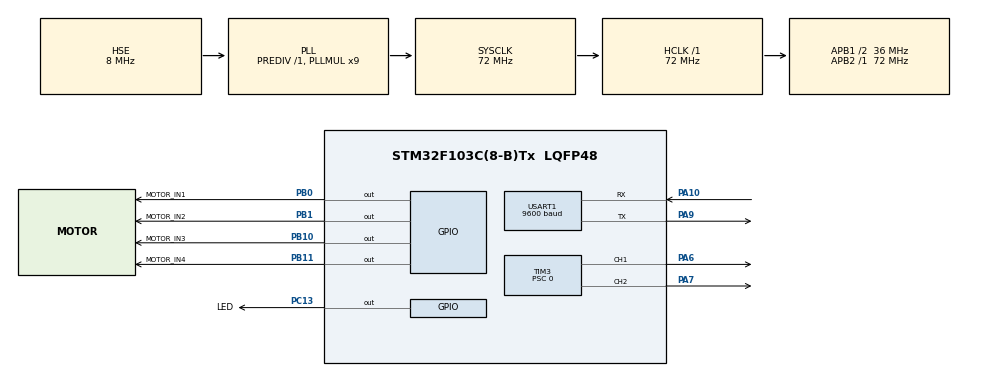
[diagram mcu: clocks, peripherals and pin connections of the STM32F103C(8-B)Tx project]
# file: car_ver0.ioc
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Mcu.Family=STM32F1
Mcu.Name=STM32F103C(8-B)Tx
Mcu.Package=LQFP48
NVIC.PriorityGroup=NVIC_PRIORITYGROUP_4
NVIC.USART1_IRQn=true\:0\:0\:false\:false\:true\:true\:true\:true
PA10.Mode=Asynchronous
PA10.Signal=USART1_RX
PA13.Mode=Serial_Wire
PA13.Signal=SYS_JTMS-SWDIO
PA14.Mode=Serial_Wire
PA14.Signal=SYS_JTCK-SWCLK
PA6.Signal=S_TIM3_CH1
PA7.Signal=S_TIM3_CH2
PA9.Mode=Asynchronous
PA9.Signal=USART1_TX
PB0.GPIO_Label=MOTOR_IN1
PB0.Signal=GPIO_Output
PB1.GPIO_Label=MOTOR_IN2
PB1.Signal=GPIO_Output
PB10.GPIO_Label=MOTOR_IN3
PB10.Signal=GPIO_Output
PB11.GPIO_Label=MOTOR_IN4
PB11.Signal=GPIO_Output
PC13-TAMPER-RTC.GPIO_Label=LED
PC13-TAMPER-RTC.GPIO_PuPd=GPIO_NOPULL
PC13-TAMPER-RTC.PinState=GPIO_PIN_SET
PC13-TAMPER-RTC.Signal=GPIO_Output
PD0-OSC_IN.Mode=HSE-External-Oscillator
PD0-OSC_IN.Signal=RCC_OSC_IN
PD1-OSC_OUT.Mode=HSE-External-Oscillator
PD1-OSC_OUT.Signal=RCC_OSC_OUT
ProjectManager.HeapSize=0x200
ProjectManager.StackSize=0x400
ProjectManager.TargetToolchain=MDK-ARM V5.32
RCC.AHBFreq_Value=72000000
RCC.APB1CLKDivider=RCC_HCLK_DIV2
RCC.APB1Freq_Value=36000000
RCC.APB1TimFreq_Value=72000000
RCC.APB2Freq_Value=72000000
RCC.APB2TimFreq_Value=72000000
RCC.HCLKFreq_Value=72000000
RCC.PLLMUL=RCC_PLL_MUL9
RCC.PLLSourceVirtual=RCC_PLLSOURCE_HSE
RCC.SYSCLKFreq_VALUE=72000000
RCC.SYSCLKSource=RCC_SYSCLKSOURCE_PLLCLK
RCC.USBFreq_Value=72000000
SH.S_TIM3_CH1.0=TIM3_CH1,PWM Generation1 CH1
SH.S_TIM3_CH2.0=TIM3_CH2,PWM Generation2 CH2
TIM3.Channel-PWM\ Generation1\ CH1=TIM_CHANNEL_1
TIM3.Channel-PWM\ Generation2\ CH2=TIM_CHANNEL_2
TIM3.Period=3599
TIM3.Prescaler=0
USART1.BaudRate=9600
USART1.VirtualMode=VM_ASYNC
board=custom

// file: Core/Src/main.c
/* USER CODE BEGIN Header */
/**
  ******************************************************************************
  * @file           : main.c
  * @brief          : Main program body
  ******************************************************************************
  * @attention
  *
  * Copyright (c) 2026 STMicroelectronics.
  * All rights reserved.
  *
  * This software is licensed under terms that can be found in the LICENSE file
  * in the root directory of this software component.
  * If no LICENSE file comes with this software, it is provided AS-IS.
  *
  ******************************************************************************
  */
/* USER CODE END Header */
#include "main.h"

/* USER CODE BEGIN Includes */
#include <string.h>
/* USER CODE END Includes */

/* USER CODE BEGIN PD */
/* 三档速度：z=65%，x=80%，c=98% */
#define SPEED_LEVEL_1 65U
#define SPEED_LEVEL_2 80U
#define SPEED_LEVEL_3 98U

/* 10° 转向参数（履带式双电机，开环：线速度 × 延时）
 * 车体：履带中心距 B ≈ 245 - 33 = 212 mm，驱动轮直径 D = 39 mm，
 *       电机 1:30、额定 333 r/min（12 V 空载）。
 *
 * 1) 原地转向（车停着，a/d 直接转）：
 *    两履带反向，65% 占空比，ω = 2v/B ≈ 182 °/s，
 *    10° 理论 ≈ 55 ms，加起步死区/滑移取 100 ms。
 *
 * 2) 行进中转向（不打断前进/后退）：
 *    外履带 = min(当前档位 + TURN_OUTER_BOOST, 100)，
 *    内履带 = 外履带 - TURN_INNER_DROP，两履带整体抬高，
 *    既保持平均速度、避免内履带因占空比过低而停转拖死，
 *    差速仍为 30 个点：65 档 80/50、80 档 95/65、98 档 100/70。
 *    差速约 30 个点对应 Δv ≈ 0.156 m/s、ω ≈ 42 °/s，10° ≈ 240 ms。
 *    履带打滑较大，实际角度请实测后按 10°/实测角度 缩放 TURN_MOVING_MS。 */
#define TURN_DUTY_PERCENT  65U   /* 原地转向占空比 */
#define TURN_PIVOT_MS      100U  /* 原地转 10° 的时间 */
#define TURN_INNER_DROP    30U   /* 行进转向时内履带比外履带低的点数 */
#define TURN_OUTER_BOOST   15U   /* 行进转向时两履带整体抬高的点数 */
#define TURN_MOVING_MS     240U  /* 行进中转 10° 的时间 */

/* 右电机镜像安装标志：
 *   1 = 右电机与左电机对装（常见小车结构），前进时 IN3/IN4 取反；
 *   0 = 两电机同向安装。
 * 若按 w 后小车原地打转而不是前进，把这里改成 0，
 * 或改为对调右电机接 L298N 的 M+/M- 两根线（两种方法只用一个）。 */
#define MOTOR_B_INVERT 1U
/* USER CODE END PD */

TIM_HandleTypeDef htim3;

UART_HandleTypeDef huart1;

/* USER CODE BEGIN PV */
static uint8_t rx_byte;                  /* 中断接收的单字节缓冲 */
static volatile uint8_t key_ready;       /* 1：收到一个有效单字符命令 */
static volatile char    key_char;        /* 收到的命令字符 */
static uint8_t speed_percent = SPEED_LEVEL_1;  /* 当前速度档位，默认一档 65% */
static uint8_t car_moving;               /* 1：小车正在行驶（用于实时改速度） */
static uint8_t car_dir;                  /* 0=停，1=前进，2=后退 */
static uint8_t turning;                  /* 1：正在执行 10° 转向 */
static uint8_t turn_inner_left;          /* 行进转向时内履带是否为左 */
static uint32_t turn_end_tick;           /* 转向结束的 SysTick 时刻 */
/* USER CODE END PV */

void SystemClock_Config(void);
static void MX_GPIO_Init(void);
static void MX_TIM3_Init(void);
static void MX_USART1_UART_Init(void);
/* USER CODE BEGIN PFP */
static void UART_SendString(const char *str);
static void LED_On(void);
static void LED_Off(void);
static void Motor_SetSpeed(uint8_t percent);
static void Motor_SetSpeeds(uint8_t left_percent, uint8_t right_percent);
static void Motor_SetLeft(uint8_t forward);
static void Motor_SetRight(uint8_t forward);
static void Car_Forward(void);
static void Car_Backward(void);
static void Car_Turn(char cmd);
static void Car_ApplyTurnSpeeds(void);
static void Car_Stop(void);
static void Car_SetSpeedLevel(uint8_t percent);
/* USER CODE END PFP */

/* USER CODE BEGIN 0 */
/**
  * @brief  串口接收完成回调：单字符遥控
  * @note   w/a/s/d = 前/左/后/右，z/x/c = 65%/80%/98%，
  *         q = 停车，n/f = LED 开/关（f 同时停车）。
  *         收到有效字符后暂停接收，等主循环处理完再重新开启。
  */
void HAL_UART_RxCpltCallback(UART_HandleTypeDef *huart)
{
  if (huart->Instance == USART1)
  {
    char c = (char)rx_byte;

    if ((c >= 'A') && (c <= 'Z'))
    {
      c = (char)(c - 'A' + 'a');       /* 兼容大写字母 */
    }

    if ((c == 'w') || (c == 'a') || (c == 's') || (c == 'd') ||
        (c == 'z') || (c == 'x') || (c == 'c') ||
        (c == 'q') || (c == 'n') || (c == 'f'))
    {
      key_char  = c;
      key_ready = 1U;
    }

    if (key_ready == 0U)
    {
      (void)HAL_UART_Receive_IT(&huart1, &rx_byte, 1U);
    }
  }
}

/**
  * @brief  串口错误回调：清溢出标志并恢复接收
  */
void HAL_UART_ErrorCallback(UART_HandleTypeDef *huart)
{
  if (huart->Instance == USART1)
  {
    __HAL_UART_CLEAR_OREFLAG(huart);

    if (key_ready == 0U)
    {
      (void)HAL_UART_Receive_IT(&huart1, &rx_byte, 1U);
    }
  }
}
/* USER CODE END 0 */

int main(void)
{

  /* MCU Configuration--------------------------------------------------------*/

  /* Reset of all peripherals, Initializes the Flash interface and the Systick. */
  HAL_Init();

  /* Configure the system clock */
  SystemClock_Config();

  /* Initialize all configured peripherals */
  MX_GPIO_Init();
  MX_TIM3_Init();
  MX_USART1_UART_Init();
  /* USER CODE BEGIN 2 */
  LED_Off();    /* 上电默认熄灭（PC13 低电平点亮） */

  /* 启动 TIM3 两路 PWM：CH1(PA6)=左电机 ENA，CH2(PA7)=右电机 ENB */
  (void)HAL_TIM_PWM_Start(&htim3, TIM_CHANNEL_1);
  (void)HAL_TIM_PWM_Start(&htim3, TIM_CHANNEL_2);
  Car_Stop();   /* 上电两电机都不转 */

  /* 开启单字节中断接收，等待 JDY-31 转发过来的手机数据 */
  (void)HAL_UART_Receive_IT(&huart1, &rx_byte, 1U);
  /* USER CODE END 2 */

  /* Infinite loop */
  while (1)
  {

    /* USER CODE BEGIN 3 */
    /* 10° 转向时间到：原地转向则停车；行进中转向则恢复两履带同速，继续前进/后退 */
    if ((turning != 0U) && ((int32_t)(HAL_GetTick() - turn_end_tick) >= 0))
    {
      if (car_dir == 0U)
      {
        Car_Stop();
      }
      else
      {
        turning = 0U;
        Motor_SetSpeed(speed_percent);   /* 转向结束，继续原方向行驶 */
      }
    }

    if (key_ready != 0U)
    {
      switch (key_char)
      {
        case 'w':   /* 前进 */
          Car_Forward();
          UART_SendString("FWD\r\n");
          break;

        case 's':   /* 后退 */
          Car_Backward();
          UART_SendString("BACK\r\n");
          break;

        case 'a':   /* 左转 10°：行驶中只降低内履带速度，不打断前进/后退 */
          Car_Turn('a');
          UART_SendString("LEFT\r\n");
          break;

        case 'd':   /* 右转 10°：行驶中只降低内履带速度，不打断前进/后退 */
          Car_Turn('d');
          UART_SendString("RIGHT\r\n");
          break;

        case 'z':   /* 一档 65% */
          Car_SetSpeedLevel(SPEED_LEVEL_1);
          UART_SendString("SPEED 65%\r\n");
          break;

        case 'x':   /* 二档 80% */
          Car_SetSpeedLevel(SPEED_LEVEL_2);
          UART_SendString("SPEED 80%\r\n");
          break;

        case 'c':   /* 三档 98% */
          Car_SetSpeedLevel(SPEED_LEVEL_3);
          UART_SendString("SPEED 98%\r\n");
          break;

        case 'q':   /* 停车 */
          Car_Stop();
          UART_SendString("STOP\r\n");
          break;

        case 'n':   /* LED 开，不影响电机 */
          LED_On();
          UART_SendString("LED ON\r\n");
          break;

        case 'f':   /* LED 关，同时停车 */
          LED_Off();
          Car_Stop();
          UART_SendString("LED OFF\r\n");
          break;

        default:
          break;
      }

      key_ready = 0U;

      /* 处理完毕，重新开启接收 */
      (void)HAL_UART_Receive_IT(&huart1, &rx_byte, 1U);
    }
  }
  /* USER CODE END 3 */
}

void SystemClock_Config(void)
{
  RCC_OscInitTypeDef RCC_OscInitStruct = {0};
  RCC_ClkInitTypeDef RCC_ClkInitStruct = {0};

  /** Initializes the RCC Oscillators according to the specified parameters
  * in the RCC_OscInitTypeDef structure.
  */
  RCC_OscInitStruct.OscillatorType = RCC_OSCILLATORTYPE_HSE;
  RCC_OscInitStruct.HSEState = RCC_HSE_ON;
  RCC_OscInitStruct.HSEPredivValue = RCC_HSE_PREDIV_DIV1;
  RCC_OscInitStruct.HSIState = RCC_HSI_ON;
  RCC_OscInitStruct.PLL.PLLState = RCC_PLL_ON;
  RCC_OscInitStruct.PLL.PLLSource = RCC_PLLSOURCE_HSE;
  RCC_OscInitStruct.PLL.PLLMUL = RCC_PLL_MUL9;
  if (HAL_RCC_OscConfig(&RCC_OscInitStruct) != HAL_OK)
  {
    Error_Handler();
  }

  /** Initializes the CPU, AHB and APB buses clocks
  */
  RCC_ClkInitStruct.ClockType = RCC_CLOCKTYPE_HCLK|RCC_CLOCKTYPE_SYSCLK
                              |RCC_CLOCKTYPE_PCLK1|RCC_CLOCKTYPE_PCLK2;
  RCC_ClkInitStruct.SYSCLKSource = RCC_SYSCLKSOURCE_PLLCLK;
  RCC_ClkInitStruct.AHBCLKDivider = RCC_SYSCLK_DIV1;
  RCC_ClkInitStruct.APB1CLKDivider = RCC_HCLK_DIV2;
  RCC_ClkInitStruct.APB2CLKDivider = RCC_HCLK_DIV1;

  if (HAL_RCC_ClockConfig(&RCC_ClkInitStruct, FLASH_LATENCY_2) != HAL_OK)
  {
    Error_Handler();
  }
}

static void MX_TIM3_Init(void)
{

  TIM_MasterConfigTypeDef sMasterConfig = {0};
  TIM_OC_InitTypeDef sConfigOC = {0};

  htim3.Instance = TIM3;
  htim3.Init.Prescaler = 0;
  htim3.Init.CounterMode = TIM_COUNTERMODE_UP;
  htim3.Init.Period = 3599;
  htim3.Init.ClockDivision = TIM_CLOCKDIVISION_DIV1;
  htim3.Init.AutoReloadPreload = TIM_AUTORELOAD_PRELOAD_DISABLE;
  if (HAL_TIM_PWM_Init(&htim3) != HAL_OK)
  {
    Error_Handler();
  }
  sMasterConfig.MasterOutputTrigger = TIM_TRGO_RESET;
  sMasterConfig.MasterSlaveMode = TIM_MASTERSLAVEMODE_DISABLE;
  if (HAL_TIMEx_MasterConfigSynchronization(&htim3, &sMasterConfig) != HAL_OK)
  {
    Error_Handler();
  }
  sConfigOC.OCMode = TIM_OCMODE_PWM1;
  sConfigOC.Pulse = 0;
  sConfigOC.OCPolarity = TIM_OCPOLARITY_HIGH;
  sConfigOC.OCFastMode = TIM_OCFAST_DISABLE;
  if (HAL_TIM_PWM_ConfigChannel(&htim3, &sConfigOC, TIM_CHANNEL_1) != HAL_OK)
  {
    Error_Handler();
  }
  if (HAL_TIM_PWM_ConfigChannel(&htim3, &sConfigOC, TIM_CHANNEL_2) != HAL_OK)
  {
    Error_Handler();
  }
  HAL_TIM_MspPostInit(&htim3);

}

static void MX_USART1_UART_Init(void)
{

  huart1.Instance = USART1;
  huart1.Init.BaudRate = 9600;
  huart1.Init.WordLength = UART_WORDLENGTH_8B;
  huart1.Init.StopBits = UART_STOPBITS_1;
  huart1.Init.Parity = UART_PARITY_NONE;
  huart1.Init.Mode = UART_MODE_TX_RX;
  huart1.Init.HwFlowCtl = UART_HWCONTROL_NONE;
  huart1.Init.OverSampling = UART_OVERSAMPLING_16;
  if (HAL_UART_Init(&huart1) != HAL_OK)
  {
    Error_Handler();
  }

}

static void MX_GPIO_Init(void)
{
  GPIO_InitTypeDef GPIO_InitStruct = {0};

  /* GPIO Ports Clock Enable */
  __HAL_RCC_GPIOC_CLK_ENABLE();
  __HAL_RCC_GPIOD_CLK_ENABLE();
  __HAL_RCC_GPIOA_CLK_ENABLE();
  __HAL_RCC_GPIOB_CLK_ENABLE();

  /*Configure GPIO pin Output Level */
  HAL_GPIO_WritePin(LED_GPIO_Port, LED_Pin, GPIO_PIN_SET);

  /*Configure GPIO pin Output Level */
  HAL_GPIO_WritePin(GPIOB, MOTOR_IN1_Pin|MOTOR_IN2_Pin|MOTOR_IN3_Pin|MOTOR_IN4_Pin, GPIO_PIN_RESET);

  /*Configure GPIO pin : LED_Pin */
  GPIO_InitStruct.Pin = LED_Pin;
  GPIO_InitStruct.Mode = GPIO_MODE_OUTPUT_PP;
  GPIO_InitStruct.Pull = GPIO_NOPULL;
  GPIO_InitStruct.Speed = GPIO_SPEED_FREQ_LOW;
  HAL_GPIO_Init(LED_GPIO_Port, &GPIO_InitStruct);

  /*Configure GPIO pins : MOTOR_IN1_Pin MOTOR_IN2_Pin MOTOR_IN3_Pin MOTOR_IN4_Pin */
  GPIO_InitStruct.Pin = MOTOR_IN1_Pin|MOTOR_IN2_Pin|MOTOR_IN3_Pin|MOTOR_IN4_Pin;
  GPIO_InitStruct.Mode = GPIO_MODE_OUTPUT_PP;
  GPIO_InitStruct.Pull = GPIO_NOPULL;
  GPIO_InitStruct.Speed = GPIO_SPEED_FREQ_LOW;
  HAL_GPIO_Init(GPIOB, &GPIO_InitStruct);

}

/* USER CODE BEGIN 4 */
/**
  * @brief  通过 USART1 发送字符串
  * @param  str 以 '\0' 结尾的字符串
  */
static void UART_SendString(const char *str)
{
  (void)HAL_UART_Transmit(&huart1, (uint8_t *)str,
                         (uint16_t)strlen(str), 100U);
}

/**
  * @brief  点亮板载 LED（Blue Pill 的 PC13 为低电平点亮）
  */
static void LED_On(void)
{
  HAL_GPIO_WritePin(LED_GPIO_Port, LED_Pin, GPIO_PIN_RESET);
}

/**
  * @brief  熄灭板载 LED
  */
static void LED_Off(void)
{
  HAL_GPIO_WritePin(LED_GPIO_Port, LED_Pin, GPIO_PIN_SET);
}

/**
  * @brief  分别设置左右两路电机 PWM 占空比
  * @param  left_percent  左履带 0~100
  * @param  right_percent 右履带 0~100
  */
static void Motor_SetSpeeds(uint8_t left_percent, uint8_t right_percent)
{
  uint32_t period = __HAL_TIM_GET_AUTORELOAD(&htim3) + 1U;

  if (left_percent > 100U)
  {
    left_percent = 100U;
  }
  if (right_percent > 100U)
  {
    right_percent = 100U;
  }

  __HAL_TIM_SET_COMPARE(&htim3, TIM_CHANNEL_1,
                        (period * left_percent) / 100U);   /* 左 ENA */
  __HAL_TIM_SET_COMPARE(&htim3, TIM_CHANNEL_2,
                        (period * right_percent) / 100U);  /* 右 ENB */
}

/**
  * @brief  左右两路电机使用相同占空比
  * @param  percent 0~100，0 停止、100 全速
  */
static void Motor_SetSpeed(uint8_t percent)
{
  Motor_SetSpeeds(percent, percent);
}

/**
  * @brief  设置左电机方向
  * @param  forward 1 = 正转，0 = 反转
  */
static void Motor_SetLeft(uint8_t forward)
{
  if (forward != 0U)
  {
    HAL_GPIO_WritePin(MOTOR_IN1_GPIO_Port, MOTOR_IN1_Pin, GPIO_PIN_SET);
    HAL_GPIO_WritePin(MOTOR_IN2_GPIO_Port, MOTOR_IN2_Pin, GPIO_PIN_RESET);
  }
  else
  {
    HAL_GPIO_WritePin(MOTOR_IN1_GPIO_Port, MOTOR_IN1_Pin, GPIO_PIN_RESET);
    HAL_GPIO_WritePin(MOTOR_IN2_GPIO_Port, MOTOR_IN2_Pin, GPIO_PIN_SET);
  }
}

/**
  * @brief  设置右电机方向
  * @param  forward 1 = 车体前进方向，0 = 后退方向
  * @note   右电机镜像安装时，通过 MOTOR_B_INVERT 把电平时序取反
  */
static void Motor_SetRight(uint8_t forward)
{
  uint8_t fwd = (uint8_t)(forward ^ (uint8_t)MOTOR_B_INVERT);

  if (fwd != 0U)
  {
    HAL_GPIO_WritePin(MOTOR_IN3_GPIO_Port, MOTOR_IN3_Pin, GPIO_PIN_SET);
    HAL_GPIO_WritePin(MOTOR_IN4_GPIO_Port, MOTOR_IN4_Pin, GPIO_PIN_RESET);
  }
  else
  {
    HAL_GPIO_WritePin(MOTOR_IN3_GPIO_Port, MOTOR_IN3_Pin, GPIO_PIN_RESET);
    HAL_GPIO_WritePin(MOTOR_IN4_GPIO_Port, MOTOR_IN4_Pin, GPIO_PIN_SET);
  }
}

/**
  * @brief  小车前进：两电机按前进方向转动
  */
static void Car_Forward(void)
{
  turning = 0U;              /* 取消可能正在进行的转向 */
  car_dir = 1U;
  Motor_SetSpeed(0U);        /* 先降速，避免带载换向 */
  Motor_SetLeft(1U);
  Motor_SetRight(1U);
  Motor_SetSpeed(speed_percent);
  car_moving = 1U;
}

/**
  * @brief  小车后退：两电机按后退方向转动
  */
static void Car_Backward(void)
{
  turning = 0U;              /* 取消可能正在进行的转向 */
  car_dir = 2U;
  Motor_SetSpeed(0U);
  Motor_SetLeft(0U);
  Motor_SetRight(0U);
  Motor_SetSpeed(speed_percent);
  car_moving = 1U;
}

/**
  * @brief  行进中转向：两履带整体抬高，再让内履带比外履带低 TURN_INNER_DROP 个点
  * @note   65 档 -> 外 80 / 内 50；80 档 -> 外 95 / 内 65；98 档 -> 外 100 / 内 70。
  *         这样左右转向的差速完全对称，同时避免内履带占空比过低而停转、
  *         履带被拖着走导致某一侧转向明显变慢。
  */
static void Car_ApplyTurnSpeeds(void)
{
  uint8_t outer = (uint8_t)(speed_percent + TURN_OUTER_BOOST);
  uint8_t inner;
  uint8_t left;
  uint8_t right;

  if (outer > 100U)
  {
    outer = 100U;
  }

  inner = (uint8_t)(outer - TURN_INNER_DROP);

  left  = outer;
  right = outer;

  if (turn_inner_left != 0U)
  {
    left = inner;
  }
  else
  {
    right = inner;
  }

  Motor_SetSpeeds(left, right);
}

/**
  * @brief  转 10°（非阻塞）
  * @param  cmd 'a' = 左转命令，'d' = 右转命令
  * @note   停车时：两履带反向原地转，转完停车；
  *         行进中：不改变前进/后退方向和外侧速度，只降低内履带速度，
  *         转完自动恢复两履带同速，继续原来的前进/后退。
  */
static void Car_Turn(char cmd)
{
  if (car_dir == 0U)
  {
    /* 原地转向：沿用互换后的 a/d 电机逻辑 */
    if (cmd == 'a')
    {
      Motor_SetLeft(1U);
      Motor_SetRight(0U);
    }
    else
    {
      Motor_SetLeft(0U);
      Motor_SetRight(1U);
    }

    Motor_SetSpeeds(TURN_DUTY_PERCENT, TURN_DUTY_PERCENT);
    turning       = 1U;
    turn_end_tick = HAL_GetTick() + TURN_PIVOT_MS;
    return;
  }

  /* 行进中转向：方向脚不动，只做左右履带差速 */
  if (cmd == 'a')
  {
    /* a 对应原右转（顺时针）：前进时内履带在右，后退时在左 */
    turn_inner_left = (car_dir == 2U) ? 1U : 0U;
  }
  else
  {
    /* d 对应原左转（逆时针）：前进时内履带在左，后退时在右 */
    turn_inner_left = (car_dir == 1U) ? 1U : 0U;
  }

  Car_ApplyTurnSpeeds();

  turning       = 1U;
  turn_end_tick = HAL_GetTick() + TURN_MOVING_MS;
}

/**
  * @brief  停车：占空比 0，四个方向脚全部拉低（自由滑行）
  */
static void Car_Stop(void)
{
  Motor_SetSpeed(0U);
  HAL_GPIO_WritePin(MOTOR_IN1_GPIO_Port, MOTOR_IN1_Pin, GPIO_PIN_RESET);
  HAL_GPIO_WritePin(MOTOR_IN2_GPIO_Port, MOTOR_IN2_Pin, GPIO_PIN_RESET);
  HAL_GPIO_WritePin(MOTOR_IN3_GPIO_Port, MOTOR_IN3_Pin, GPIO_PIN_RESET);
  HAL_GPIO_WritePin(MOTOR_IN4_GPIO_Port, MOTOR_IN4_Pin, GPIO_PIN_RESET);
  car_moving = 0U;
  car_dir    = 0U;
  turning    = 0U;
}

/**
  * @brief  切换速度档位
  * @param  percent 0~100
  * @note   直行中切换立即生效；行进转向中保持差速不变、外履带跟随新档；
  *         停车时只记录，下次行驶使用
  */
static void Car_SetSpeedLevel(uint8_t percent)
{
  if (percent > 100U)
  {
    percent = 100U;
  }

  speed_percent = percent;

  if (turning != 0U)
  {
    if (car_dir != 0U)
    {
      Car_ApplyTurnSpeeds();
    }
  }
  else if (car_moving != 0U)
  {
    Motor_SetSpeed(speed_percent);
  }
}
/* USER CODE END 4 */

void Error_Handler(void)
{
  __disable_irq();
  while (1)
  {
  }
}
